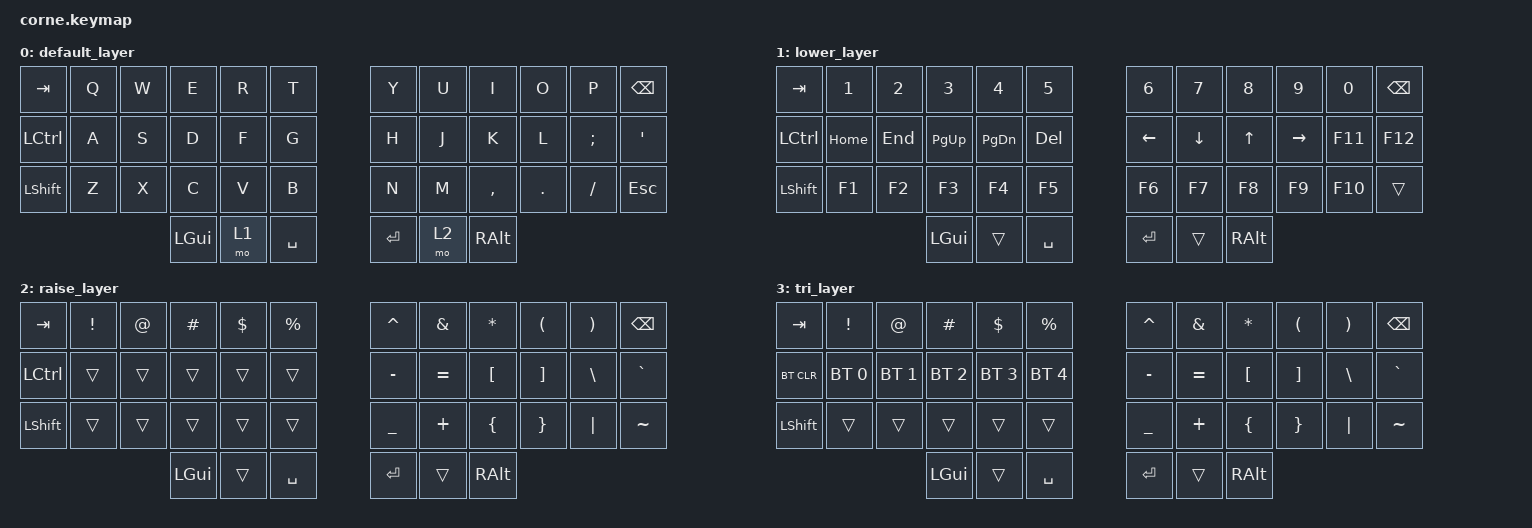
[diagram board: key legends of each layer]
/*
 * Copyright (c) 2020 The ZMK Contributors
 *
 * SPDX-License-Identifier: MIT
 */

#include <behaviors.dtsi>
#include <dt-bindings/zmk/keys.h>
#include <dt-bindings/zmk/bt.h>

/ {
    conditional_layers {
        compatible = "zmk,conditional-layers";
        tri_layer {
            if-layers = <1 2>;
            then-layer = <3>;
        };
    };
};

/ {
        keymap {
                compatible = "zmk,keymap";

                default_layer {
// -----------------------------------------------------------------------------------------
// |  TAB |  Q  |  W  |  E  |  R  |  T  |   |  Y  |  U   |  I  |  O  |  P  | BSPC |
// | CTRL |  A  |  S  |  D  |  F  |  G  |   |  H  |  J   |  K  |  L  |  ;  |  '   |
// | SHFT |  Z  |  X  |  C  |  V  |  B  |   |  N  |  M   |  ,  |  .  |  /  | ESC  |
//                    | GUI | LWR | SPC |   | ENT | RSE  | ALT |
                        bindings = <
   &kp TAB   &kp Q &kp W &kp E &kp R &kp T   &kp Y &kp U  &kp I      &kp O   &kp P    &kp BSPC
   &kp LCTRL &kp A &kp S &kp D &kp F &kp G   &kp H &kp J  &kp K      &kp L   &kp SEMI &kp SQT
   &kp LSHFT &kp Z &kp X &kp C &kp V &kp B   &kp N &kp M  &kp COMMA &kp DOT &kp FSLH &kp ESC
                  &kp LGUI &mo 1 &kp SPACE   &kp RET &mo 2 &kp RALT
                        >;
                };
                
                lower_layer {
// -----------------------------------------------------------------------------------------
// |  TAB |  1  |  2  |  3  |  4  |  5  |   |  6  |  7  |  8  |  9  |  0  | BSPC |
// | CTRL | HOME| END | PGUP| PGDN| DEL |   | LFT | DWN |  UP | RGT | F11 |  F12 |
// | SHFT |  F1 | F2  |  F3 |  F4 |  F5 |   | F6  |  F7 |  F8 | F9  | F10 |      |
//                    | GUI |     | SPC |   | ENT |     | ALT |
                        bindings = <
   &kp TAB    &kp N1       &kp N2       &kp N3       &kp N4       &kp N5         &kp N6   &kp N7   &kp N8 &kp N9    &kp N0 &kp BSPC
   &kp LCTRL  &kp HOME     &kp END      &kp PG_UP    &kp PG_DN    &kp DEL        &kp LEFT &kp DOWN &kp UP &kp RIGHT &kp F11 &kp F12
   &kp LSHFT  &kp F1       &kp F2       &kp F3       &kp F4       &kp F5         &kp F6   &kp F7   &kp F8 &kp F9    &kp F10 &trans
                                        &kp LGUI     &trans       &kp SPACE      &kp RET  &trans   &kp RALT
                        >;
                };

                raise_layer {
// -----------------------------------------------------------------------------------------
// |  TAB |  !  |  @  |  #  |  $  |  %  |   |  ^  |  &  |  * |  (  |  )  | BSPC |
// | CTRL |     |     |     |     |     |   |  -  |  =  |  [  |  ]  |  \  |  `   |
// | SHFT |     |     |     |     |     |   |  _  |  +  |  {  |  }  | "|" |  ~   |
//                    | GUI |     | SPC |   | ENT |     | ALT |
                        bindings = <
   &kp  TAB  &kp EXCL &kp AT &kp HASH &kp DLLR &kp PRCNT   &kp CARET &kp AMPS  &kp ASTRK &kp LPAR &kp RPAR &kp BSPC
   &kp LCTRL &trans   &trans &trans   &trans   &trans      &kp MINUS &kp EQUAL &kp LBKT  &kp RBKT &kp BSLH &kp GRAVE
   &kp LSHFT &trans   &trans &trans   &trans   &trans      &kp UNDER &kp PLUS  &kp LBRC  &kp RBRC &kp PIPE &kp TILDE
                               &kp LGUI &trans   &kp SPACE   &kp RET   &trans    &kp RALT
                        >;
                };

                tri_layer {
// -----------------------------------------------------------------------------------------
// |  TAB |  !  |  @  |  #  |  $  |  %  |   |  ^  |  &  |  * |  (  |  )  | BSPC |
// |BT_CLR| BT0 | BT1 | BT2 | BT3 | BT4 |   |  -  |  =  |  [  |  ]  |  \  |  `   |
// | SHFT |     |     |     |     |     |   |  _  |  +  |  {  |  }  | "|" |  ~   |
//                    | GUI |     | SPC |   | ENT |     | ALT |
                        bindings = <
   &kp  TAB    &kp EXCL        &kp AT          &kp HASH        &kp DLLR        &kp PRCNT       &kp CARET &kp AMPS  &kp ASTRK &kp LPAR &kp RPAR &kp BSPC
   &bt BT_CLR  &bt BT_SEL 0    &bt BT_SEL 1    &bt BT_SEL 2    &bt BT_SEL 3    &bt BT_SEL 4    &kp MINUS &kp EQUAL &kp LBKT  &kp RBKT &kp BSLH &kp GRAVE
   &kp LSHFT   &trans          &trans          &trans          &trans          &trans          &kp UNDER &kp PLUS  &kp LBRC  &kp RBRC &kp PIPE &kp TILDE
                                               &kp LGUI        &trans          &kp SPACE       &kp RET   &trans    &kp RALT                
                        >;
                };
        };
};
